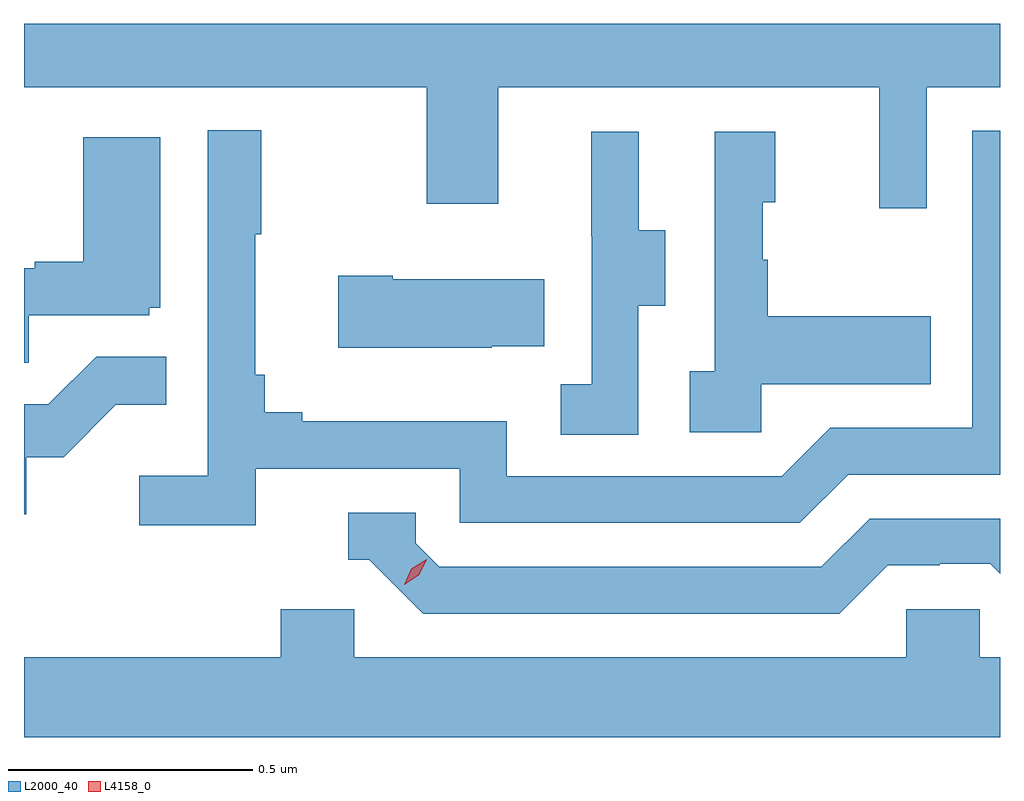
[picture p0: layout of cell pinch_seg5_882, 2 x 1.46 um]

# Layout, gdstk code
import gdstk
lib = gdstk.Library(unit=1e-6, precision=1e-09)
def P(c, l, *ps):  # polygons
    for p in ps: c.add(gdstk.Polygon(p, *l))
L2000_40 = (2000, 40)
L4158_0 = (4158, 0)

pinch_seg5_882 = lib.new_cell('pinch_seg5_882')
P(pinch_seg5_882, L2000_40, [(845.061,891.392),(845.211,891.392),(845.211,891.522),(843.211,891.522),(843.211,891.392),(844.036,891.392),(844.036,891.153),(844.183,891.153),(844.183,891.392),(844.964,891.392),(844.964,891.144),(845.061,891.144)],
  [(843.686,890.61),(844.104,890.61),(844.104,890.499),(844.801,890.499),(844.9,890.598),(845.211,890.598),(845.211,891.303),(845.154,891.303),(845.154,890.694),(844.863,890.694),(844.764,890.595),(844.2,890.595),(844.2,890.707),(843.781,890.707),(843.781,890.726),(843.704,890.726),(843.704,890.803),(843.685,890.803),(843.685,891.091),(843.697,891.091),(843.697,891.304),(843.588,891.304),(843.588,890.596),(843.447,890.596),(843.447,890.494),(843.686,890.494)],
  [(844.47,890.944),(844.525,890.944),(844.525,891.099),(844.471,891.099),(844.471,891.301),(844.373,891.301),(844.373,891.087),(844.374,891.087),(844.374,890.783),(844.311,890.783),(844.311,890.68),(844.47,890.68)],
  [(844.722,890.783),(845.069,890.783),(845.069,890.923),(844.735,890.923),(844.735,891.038),(844.725,891.038),(844.725,891.156),(844.75,891.156),(844.75,891.301),(844.626,891.301),(844.626,890.81),(844.575,890.81),(844.575,890.685),(844.722,890.685)],
  [(843.221,890.925),(843.468,890.925),(843.468,890.94),(843.49,890.94),(843.49,891.289),(843.332,891.289),(843.332,891.034),(843.233,891.034),(843.233,891.021),(843.211,891.021),(843.211,890.827),(843.221,890.827)],
  [(844.169,890.861),(844.277,890.861),(844.277,890.998),(843.967,890.998),(843.967,891.006),(843.855,891.006),(843.855,890.858),(844.169,890.858)],
  [(843.216,890.634),(843.292,890.634),(843.399,890.741),(843.503,890.741),(843.503,890.84),(843.359,890.84),(843.261,890.742),(843.211,890.742),(843.211,890.517),(843.216,890.517)],
  [(844.981,890.412),(845.088,890.412),(845.088,890.415),(845.191,890.415),(845.211,890.395),(845.211,890.508),(844.944,890.508),(844.845,890.409),(844.062,890.409),(844.014,890.457),(844.014,890.52),(843.875,890.52),(843.875,890.424),(843.918,890.424),(844.029,890.313),(844.882,890.313)],
  [(845.211,890.224),(845.169,890.224),(845.169,890.322),(845.019,890.322),(845.019,890.224),(843.888,890.224),(843.888,890.322),(843.737,890.322),(843.737,890.224),(843.211,890.224),(843.211,890.06),(845.211,890.06)])
P(pinch_seg5_882, L4158_0, [(843.99,890.372),(843.99,890.372),(844.005,890.405),(844.036,890.425),(844.036,890.425),(844.036,890.424),(844.02,890.392),(843.99,890.372)])

lib.write_gds('pinch_seg5_882.gds')
